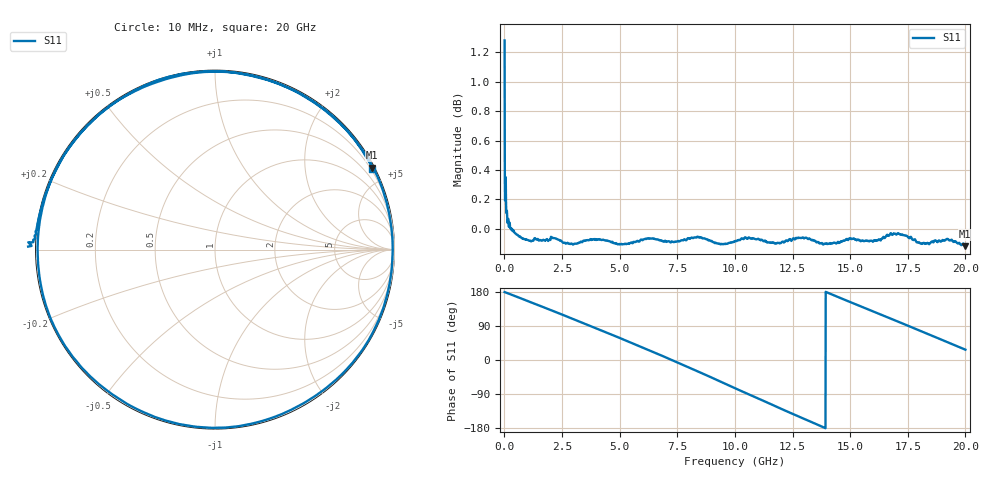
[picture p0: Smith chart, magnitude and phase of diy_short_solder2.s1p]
#  HZ  S  DB  R  50.00
! Rohde & Schwarz Vector Network Analyzer
! Rohde-Schwarz,ZNA26-4Port,1332450024101475,2.90
! Created: UTC 5/21/2025, 7:05:22 PM
! freq[Hz]  db:S11  ang:S11
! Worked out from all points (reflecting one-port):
!   2000 points, 10 MHz to 20 GHz, reference 50 ohm
!   lowest |S11| = -0.1 dB at 19.99 GHz (marker M1), VSWR 147.44, Z = 5.98 + j204 ohm
!   phase of S11 starts at 179 deg and turns -512 deg over the sweep
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1e7  1.28 179.2
1.3e8  0.05 176.6
1.48e9  -0.08 144.5
2.51e9  -0.09 119.7
3.2e9  -0.10 102.8
3.79e9  -0.08 88.3
4.4e9  -0.08 73.4
5.01e9  -0.11 57.9
6.32e9  -0.07 24.6
6.92e9  -0.09 9.0
7.51e9  -0.08 -6.6
8.08e9  -0.06 -21.9
8.65e9  -0.07 -37.2
9.39e9  -0.10 -57.4
1.001e10  -0.08 -74.6
1.059e10  -0.06 -90.3
1.12e10  -0.08 -106.7
1.181e10  -0.10 -123.4
1.251e10  -0.07 -142.4
1.313e10  -0.06 -158.5
1.371e10  -0.10 -174.1
1.436e10  -0.10 169.1
1.501e10  -0.07 152.8
1.636e10  -0.07 119.0
1.751e10  -0.06 90.4
1.868e10  -0.08 60.7
1.999e10  -0.12 27.5
2e10  -0.12 27.2
